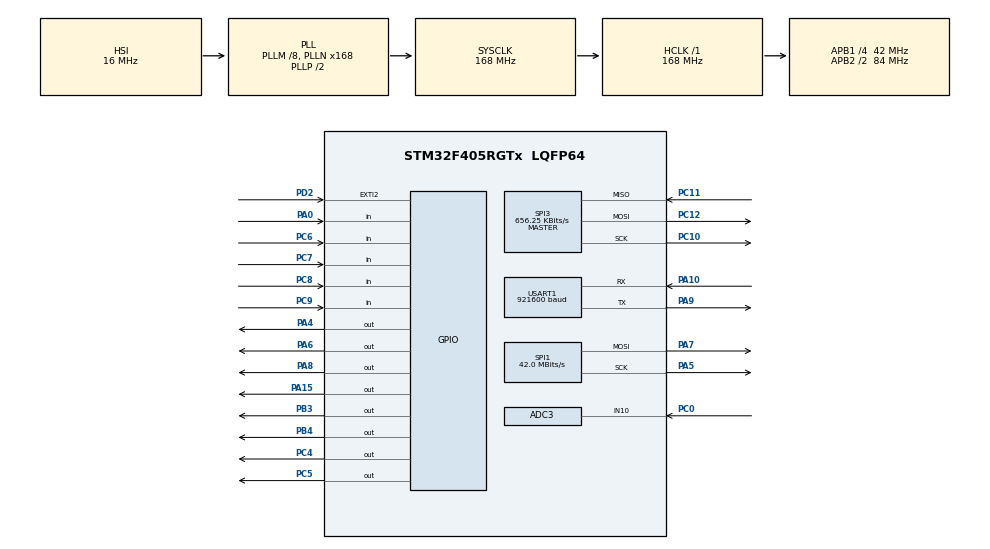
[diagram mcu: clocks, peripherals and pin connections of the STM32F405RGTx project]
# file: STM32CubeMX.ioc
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ADC3.Channel-0\#ChannelRegularConversion=ADC_CHANNEL_10
ADC3.ContinuousConvMode=ENABLE
ADC3.ExternalTrigConv=ADC_SOFTWARE_START
ADC3.NbrOfConversionFlag=1
ADC3.Rank-0\#ChannelRegularConversion=1
ADC3.SamplingTime-0\#ChannelRegularConversion=ADC_SAMPLETIME_3CYCLES
Dma.Request0=SPI1_TX
Dma.SPI1_TX.0.Direction=DMA_MEMORY_TO_PERIPH
Dma.SPI1_TX.0.FIFOMode=DMA_FIFOMODE_DISABLE
Dma.SPI1_TX.0.Instance=DMA2_Stream3
Dma.SPI1_TX.0.MemDataAlignment=DMA_MDATAALIGN_BYTE
Dma.SPI1_TX.0.MemInc=DMA_MINC_ENABLE
Dma.SPI1_TX.0.Mode=DMA_NORMAL
Dma.SPI1_TX.0.PeriphDataAlignment=DMA_PDATAALIGN_BYTE
Dma.SPI1_TX.0.PeriphInc=DMA_PINC_DISABLE
Dma.SPI1_TX.0.Priority=DMA_PRIORITY_MEDIUM
Mcu.Family=STM32F4
Mcu.Name=STM32F405RGTx
Mcu.Package=LQFP64
NVIC.DMA2_Stream3_IRQn=true\:0\:0\:false\:false\:true\:false\:true\:true
NVIC.EXTI2_IRQn=true\:5\:0\:true\:false\:false\:true\:true\:true
NVIC.PriorityGroup=NVIC_PRIORITYGROUP_4
NVIC.TIM7_IRQn=true\:5\:0\:true\:false\:false\:true\:true\:true
PA0-WKUP.Signal=GPIO_Input
PA10.Mode=Asynchronous
PA10.Signal=USART1_RX
PA13.Mode=Serial_Wire
PA13.Signal=SYS_JTMS-SWDIO
PA14.Mode=Serial_Wire
PA14.Signal=SYS_JTCK-SWCLK
PA15.GPIO_PuPd=GPIO_PULLUP
PA15.GPIO_Speed=GPIO_SPEED_FREQ_LOW
PA15.PinState=GPIO_PIN_SET
PA15.Signal=GPIO_Output
PA4.Signal=GPIO_Output
PA5.Mode=TX_Only_Simplex_Unidirect_Master
PA5.Signal=SPI1_SCK
PA6.GPIO_PuPd=GPIO_NOPULL
PA6.Signal=GPIO_Output
PA7.Mode=TX_Only_Simplex_Unidirect_Master
PA7.Signal=SPI1_MOSI
PA8.GPIO_PuPd=GPIO_NOPULL
PA8.Signal=GPIO_Output
PA9.Mode=Asynchronous
PA9.Signal=USART1_TX
PB3.GPIO_ModeDefaultOutputPP=GPIO_MODE_OUTPUT_PP
PB3.GPIO_PuPd=GPIO_NOPULL
PB3.GPIO_Speed=GPIO_SPEED_FREQ_LOW
PB3.PinState=GPIO_PIN_SET
PB3.Signal=GPIO_Output
PB4.GPIO_ModeDefaultOutputPP=GPIO_MODE_OUTPUT_PP
PB4.GPIO_PuPd=GPIO_NOPULL
PB4.PinState=GPIO_PIN_SET
PB4.Signal=GPIO_Output
PC0.Signal=ADCx_IN10
PC10.Mode=Full_Duplex_Master
PC10.Signal=SPI3_SCK
PC11.Mode=Full_Duplex_Master
PC11.Signal=SPI3_MISO
PC12.Mode=Full_Duplex_Master
PC12.Signal=SPI3_MOSI
PC4.Signal=GPIO_Output
PC5.Signal=GPIO_Output
PC6.GPIO_PuPd=GPIO_PULLUP
PC6.Signal=GPIO_Input
PC7.GPIO_PuPd=GPIO_PULLUP
PC7.Signal=GPIO_Input
PC8.GPIO_PuPd=GPIO_PULLUP
PC8.Signal=GPIO_Input
PC9.GPIO_PuPd=GPIO_PULLUP
PC9.Signal=GPIO_Input
PD2.GPIO_ModeDefaultEXTI=GPIO_MODE_IT_FALLING
PD2.GPIO_PuPd=GPIO_PULLUP
PD2.Signal=GPXTI2
PH0-OSC_IN.Mode=HSE-External-Oscillator
PH0-OSC_IN.Signal=RCC_OSC_IN
PH1-OSC_OUT.Mode=HSE-External-Oscillator
PH1-OSC_OUT.Signal=RCC_OSC_OUT
ProjectManager.HeapSize=0x2000
ProjectManager.StackSize=0x2000
ProjectManager.TargetToolchain=MDK-ARM V5.32
RCC.48MHZClocksFreq_Value=84000000
RCC.AHBFreq_Value=168000000
RCC.APB1CLKDivider=RCC_HCLK_DIV4
RCC.APB1Freq_Value=42000000
RCC.APB1TimFreq_Value=84000000
RCC.APB2CLKDivider=RCC_HCLK_DIV2
RCC.APB2Freq_Value=84000000
RCC.APB2TimFreq_Value=168000000
RCC.CortexFreq_Value=168000000
RCC.HCLKFreq_Value=168000000
RCC.HSE_VALUE=8000000
RCC.HSI_VALUE=16000000
RCC.LSE_VALUE=32768
RCC.PLLM=8
RCC.PLLN=168
RCC.SYSCLKFreq_VALUE=168000000
RCC.SYSCLKSource=RCC_SYSCLKSOURCE_PLLCLK
RCC.VCOOutputFreq_Value=336000000
SH.ADCx_IN10.0=ADC3_IN10,IN10
SH.ADCx_IN10.1=ADC1_IN10
SPI1.BaudRatePrescaler=SPI_BAUDRATEPRESCALER_2
SPI1.CalculateBaudRate=42.0 MBits/s
SPI1.Direction=SPI_DIRECTION_2LINES
SPI1.Mode=SPI_MODE_MASTER
SPI1.VirtualType=VM_MASTER
SPI3.BaudRatePrescaler=SPI_BAUDRATEPRESCALER_64
SPI3.CLKPhase=SPI_PHASE_2EDGE
SPI3.CalculateBaudRate=656.25 KBits/s
SPI3.DataSize=SPI_DATASIZE_8BIT
SPI3.Direction=SPI_DIRECTION_2LINES
SPI3.Mode=SPI_MODE_MASTER
SPI3.TIMode=SPI_TIMODE_DISABLE
SPI3.VirtualType=VM_MASTER
TIM7.AutoReloadPreload=TIM_AUTORELOAD_PRELOAD_ENABLE
TIM7.Period=499
TIM7.Prescaler=8399
USART1.BaudRate=921600
USART1.Mode=MODE_TX
USART1.VirtualMode=VM_ASYNC
VP_TIM7_VS_ClockSourceINT.Mode=Enable_Timer
board=custom

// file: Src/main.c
/* USER CODE BEGIN Header */
/**
  ******************************************************************************
  * @file           : main.c
  * @brief          : Main program body
  ******************************************************************************
  * @attention
  *
  * Copyright (c) 2025 STMicroelectronics.
  * All rights reserved.
  *
  * This software is licensed under terms that can be found in the LICENSE file
  * in the root directory of this software component.
  * If no LICENSE file comes with this software, it is provided AS-IS.
  *
  ******************************************************************************
  */
/* USER CODE END Header */
#include "main.h"
#include "adc.h"
#include "dma.h"
#include "spi.h"
#include "tim.h"
#include "usart.h"
#include "gpio.h"

/* USER CODE BEGIN Includes */
#include "FreeRTOS.h"
#include "task.h"
#include "semphr.h"
#include <stdio.h>
#include "lvgl.h"
#include "lv_port_disp_template.h"
#include "lv_port_indev_template.h"
#include "lcd.h"
#include "ui.h"
#include "cmsis_os2.h"
#include "slide_window.h"
#include "ui_events.h"
#include "app.h"
/* USER CODE END Includes */

void SystemClock_Config(void);

/* USER CODE BEGIN 0 */

int fputc(int ch, FILE *f) {
	UNUSED(f);
    HAL_UART_Transmit(&huart1, (uint8_t *)&ch, 1,1000);
    return ch;
}

/* USER CODE END 0 */

int main(void)
{

  /* MCU Configuration--------------------------------------------------------*/

  /* Reset of all peripherals, Initializes the Flash interface and the Systick. */
  HAL_Init();

  /* Configure the system clock */
  SystemClock_Config();

  /* Initialize all configured peripherals */
  MX_GPIO_Init();
  MX_DMA_Init();
  MX_ADC3_Init();
  MX_USART1_UART_Init();
  MX_SPI1_Init();
  MX_TIM7_Init();
  MX_SPI3_Init();
  /* USER CODE BEGIN 2 */
	AppInit();

  /* USER CODE END 2 */

  /* Infinite loop */
  while (1)
  {

  }
}

void SystemClock_Config(void)
{
  RCC_OscInitTypeDef RCC_OscInitStruct = {0};
  RCC_ClkInitTypeDef RCC_ClkInitStruct = {0};

  /** Configure the main internal regulator output voltage
  */
  __HAL_RCC_PWR_CLK_ENABLE();
  __HAL_PWR_VOLTAGESCALING_CONFIG(PWR_REGULATOR_VOLTAGE_SCALE1);

  /** Initializes the RCC Oscillators according to the specified parameters
  * in the RCC_OscInitTypeDef structure.
  */
  RCC_OscInitStruct.OscillatorType = RCC_OSCILLATORTYPE_HSI;
  RCC_OscInitStruct.HSIState = RCC_HSI_ON;
  RCC_OscInitStruct.HSICalibrationValue = RCC_HSICALIBRATION_DEFAULT;
  RCC_OscInitStruct.PLL.PLLState = RCC_PLL_ON;
  RCC_OscInitStruct.PLL.PLLSource = RCC_PLLSOURCE_HSI;
  RCC_OscInitStruct.PLL.PLLM = 8;
  RCC_OscInitStruct.PLL.PLLN = 168;
  RCC_OscInitStruct.PLL.PLLP = RCC_PLLP_DIV2;
  RCC_OscInitStruct.PLL.PLLQ = 4;
  if (HAL_RCC_OscConfig(&RCC_OscInitStruct) != HAL_OK)
  {
    Error_Handler();
  }

  /** Initializes the CPU, AHB and APB buses clocks
  */
  RCC_ClkInitStruct.ClockType = RCC_CLOCKTYPE_HCLK|RCC_CLOCKTYPE_SYSCLK
                              |RCC_CLOCKTYPE_PCLK1|RCC_CLOCKTYPE_PCLK2;
  RCC_ClkInitStruct.SYSCLKSource = RCC_SYSCLKSOURCE_PLLCLK;
  RCC_ClkInitStruct.AHBCLKDivider = RCC_SYSCLK_DIV1;
  RCC_ClkInitStruct.APB1CLKDivider = RCC_HCLK_DIV4;
  RCC_ClkInitStruct.APB2CLKDivider = RCC_HCLK_DIV2;

  if (HAL_RCC_ClockConfig(&RCC_ClkInitStruct, FLASH_LATENCY_5) != HAL_OK)
  {
    Error_Handler();
  }
}

void Error_Handler(void)
{
  __disable_irq();
  while (1)
  {
  }
}
